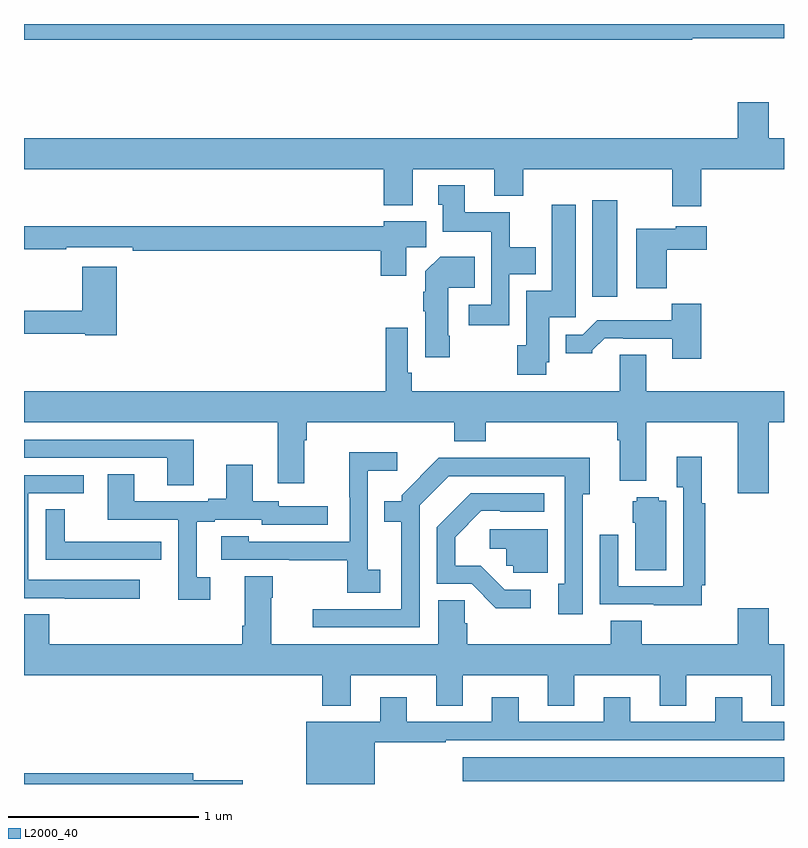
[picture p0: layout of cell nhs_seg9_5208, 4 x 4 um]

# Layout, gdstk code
import gdstk
lib = gdstk.Library(unit=1e-6, precision=1e-09)
def R(c, l, rs):  # rectangles x0, y0, x1, y1
    for r in rs: c.add(gdstk.rectangle(r[:2], r[2:], *l))
def P(c, l, *ps):  # polygons
    for p in ps: c.add(gdstk.Polygon(p, *l))
L2000_40 = (2000, 40)

nhs_seg9_5208 = lib.new_cell('nhs_seg9_5208')
R(nhs_seg9_5208, L2000_40, [(415.308,1210.514,417,1210.642), (415.991,1213.065,416.122,1213.573)])
P(nhs_seg9_5208, L2000_40, [(416.518,1214.424),(417,1214.424),(417,1214.5),(413,1214.5),(413,1214.416),(416.518,1214.416)],
  [(416.564,1213.736),(417,1213.736),(417,1213.9),(416.92,1213.9),(416.92,1214.089),(416.756,1214.089),(416.756,1213.9),(413,1213.9),(413,1213.736),(414.893,1213.736),(414.893,1213.547),(415.045,1213.547),(415.045,1213.736),(415.475,1213.736),(415.475,1213.595),(415.628,1213.595),(415.628,1213.736),(416.411,1213.736),(416.411,1213.542),(416.564,1213.542)],
  [(415.554,1213.184),(415.693,1213.184),(415.693,1213.324),(415.557,1213.324),(415.557,1213.51),(415.321,1213.51),(415.321,1213.651),(415.181,1213.651),(415.181,1213.548),(415.205,1213.548),(415.205,1213.406),(415.458,1213.406),(415.458,1213.023),(415.341,1213.023),(415.341,1212.915),(415.554,1212.915)],
  [(415.749,1212.72),(415.765,1212.72),(415.765,1212.957),(415.903,1212.957),(415.903,1213.549),(415.778,1213.549),(415.778,1213.096),(415.643,1213.096),(415.643,1212.81),(415.597,1212.81),(415.597,1212.654),(415.749,1212.654)],
  [(415.012,1213.324),(415.117,1213.324),(415.117,1213.462),(414.894,1213.462),(414.894,1213.435),(413,1213.435),(413,1213.314),(413.222,1213.314),(413.222,1213.326),(413.572,1213.326),(413.572,1213.306),(414.878,1213.306),(414.878,1213.176),(415.012,1213.176)],
  [(416.384,1213.313),(416.593,1213.313),(416.593,1213.435),(416.43,1213.435),(416.43,1213.423),(416.222,1213.423),(416.222,1213.109),(416.384,1213.109)],
  [(415.242,1212.859),(415.234,1212.859),(415.234,1213.112),(415.373,1213.112),(415.373,1213.276),(415.19,1213.276),(415.112,1213.198),(415.112,1213.091),(415.1,1213.091),(415.1,1212.988),(415.112,1212.988),(415.112,1212.747),(415.242,1212.747)],
  [(413.489,1213.222),(413.306,1213.222),(413.306,1212.991),(413,1212.991),(413,1212.87),(413.322,1212.87),(413.322,1212.862),(413.489,1212.862)],
  [(416.564,1213.027),(416.409,1213.027),(416.409,1212.94),(416.017,1212.94),(415.941,1212.864),(415.85,1212.864),(415.85,1212.767),(415.992,1212.767),(415.992,1212.782),(416.056,1212.846),(416.155,1212.846),(416.155,1212.843),(416.411,1212.843),(416.411,1212.738),(416.564,1212.738)],
  [(416.92,1212.404),(417,1212.404),(417,1212.568),(416.275,1212.568),(416.275,1212.758),(416.135,1212.758),(416.135,1212.568),(415.04,1212.568),(415.04,1212.664),(415.02,1212.664),(415.02,1212.901),(414.904,1212.901),(414.904,1212.568),(413,1212.568),(413,1212.404),(414.335,1212.404),(414.335,1212.084),(414.475,1212.084),(414.475,1212.308),(414.488,1212.308),(414.488,1212.404),(415.265,1212.404),(415.265,1212.305),(415.43,1212.305),(415.43,1212.404),(416.123,1212.404),(416.123,1212.308),(416.135,1212.308),(416.135,1212.095),(416.275,1212.095),(416.275,1212.404),(416.756,1212.404),(416.756,1212.03),(416.92,1212.03)],
  [(413.893,1212.312),(413,1212.312),(413,1212.216),(413.753,1212.216),(413.753,1212.073),(413.893,1212.073)],
  [(414.874,1211.628),(414.81,1211.628),(414.81,1212.149),(414.964,1212.149),(414.964,1212.247),(414.712,1212.247),(414.712,1212.008),(414.714,1212.008),(414.714,1211.775),(414.183,1211.775),(414.183,1211.803),(414.039,1211.803),(414.039,1211.679),(414.397,1211.679),(414.397,1211.677),(414.702,1211.677),(414.702,1211.506),(414.874,1211.506)],
  [(416.567,1211.545),(416.585,1211.545),(416.585,1211.978),(416.567,1211.978),(416.567,1212.223),(416.435,1212.223),(416.435,1212.062),(416.469,1212.062),(416.469,1211.541),(416.127,1211.541),(416.127,1211.812),(416.031,1211.812),(416.031,1211.445),(416.315,1211.445),(416.315,1211.441),(416.567,1211.441)],
  [(415.083,1211.967),(415.236,1212.12),(415.845,1212.12),(415.845,1211.554),(415.811,1211.554),(415.811,1211.394),(415.941,1211.394),(415.941,1212.026),(415.978,1212.026),(415.978,1212.218),(415.513,1212.218),(415.513,1212.216),(415.182,1212.216),(414.987,1212.021),(414.987,1211.989),(414.895,1211.989),(414.895,1211.88),(414.986,1211.88),(414.986,1211.421),(414.519,1211.421),(414.519,1211.325),(415.083,1211.325)],
  [(413.98,1211.589),(413.908,1211.589),(413.908,1211.88),(414.004,1211.88),(414.004,1211.892),(414.252,1211.892),(414.252,1211.865),(414.598,1211.865),(414.598,1211.961),(414.342,1211.961),(414.342,1211.988),(414.205,1211.988),(414.205,1212.181),(414.065,1212.181),(414.065,1212.001),(413.969,1212.001),(413.969,1211.988),(413.581,1211.988),(413.581,1212.131),(413.441,1212.131),(413.441,1211.892),(413.811,1211.892),(413.811,1211.469),(413.98,1211.469)],
  [(413.608,1211.574),(413.022,1211.574),(413.022,1212.03),(413.314,1212.03),(413.314,1212.126),(413,1212.126),(413,1211.478),(413.215,1211.478),(413.215,1211.476),(413.608,1211.476)],
  [(415.666,1211.523),(415.53,1211.523),(415.403,1211.65),(415.27,1211.65),(415.27,1211.8),(415.407,1211.937),(415.507,1211.937),(415.507,1211.934),(415.738,1211.934),(415.738,1212.03),(415.352,1212.03),(415.173,1211.851),(415.173,1211.553),(415.356,1211.553),(415.484,1211.426),(415.666,1211.426)],
  [(416.38,1211.992),(416.34,1211.992),(416.34,1212.01),(416.226,1212.01),(416.226,1211.988),(416.204,1211.988),(416.204,1211.874),(416.216,1211.874),(416.216,1211.626),(416.38,1211.626)],
  [(413.722,1211.774),(413.609,1211.774),(413.609,1211.775),(413.214,1211.775),(413.214,1211.945),(413.115,1211.945),(413.115,1211.679),(413.722,1211.679)],
  [(415.756,1211.841),(415.452,1211.841),(415.452,1211.738),(415.539,1211.738),(415.539,1211.649),(415.575,1211.649),(415.575,1211.613),(415.756,1211.613)],
  [(415.309,1211.072),(415.757,1211.072),(415.757,1210.912),(415.897,1210.912),(415.897,1211.072),(416.345,1211.072),(416.345,1210.912),(416.485,1210.912),(416.485,1211.072),(416.933,1211.072),(416.933,1210.912),(417,1210.912),(417,1211.236),(416.92,1211.236),(416.92,1211.425),(416.756,1211.425),(416.756,1211.236),(416.252,1211.236),(416.252,1211.36),(416.087,1211.36),(416.087,1211.236),(415.334,1211.236),(415.334,1211.346),(415.319,1211.346),(415.319,1211.468),(415.181,1211.468),(415.181,1211.236),(414.301,1211.236),(414.301,1211.48),(414.309,1211.48),(414.309,1211.593),(414.161,1211.593),(414.161,1211.332),(414.149,1211.332),(414.149,1211.236),(413.132,1211.236),(413.132,1211.393),(413,1211.393),(413,1211.072),(414.569,1211.072),(414.569,1210.913),(414.721,1210.913),(414.721,1211.072),(415.169,1211.072),(415.169,1210.912),(415.309,1210.912)],
  [(414.847,1210.719),(415.22,1210.719),(415.22,1210.731),(417,1210.731),(417,1210.827),(416.779,1210.827),(416.779,1210.957),(416.639,1210.957),(416.639,1210.827),(416.191,1210.827),(416.191,1210.957),(416.051,1210.957),(416.051,1210.827),(415.603,1210.827),(415.603,1210.957),(415.463,1210.957),(415.463,1210.827),(415.015,1210.827),(415.015,1210.957),(414.875,1210.957),(414.875,1210.828),(414.485,1210.828),(414.485,1210.5),(414.847,1210.5)],
  [(414.151,1210.52),(413.89,1210.52),(413.89,1210.556),(413,1210.556),(413,1210.5),(414.151,1210.5)])

lib.write_gds('nhs_seg9_5208.gds')
